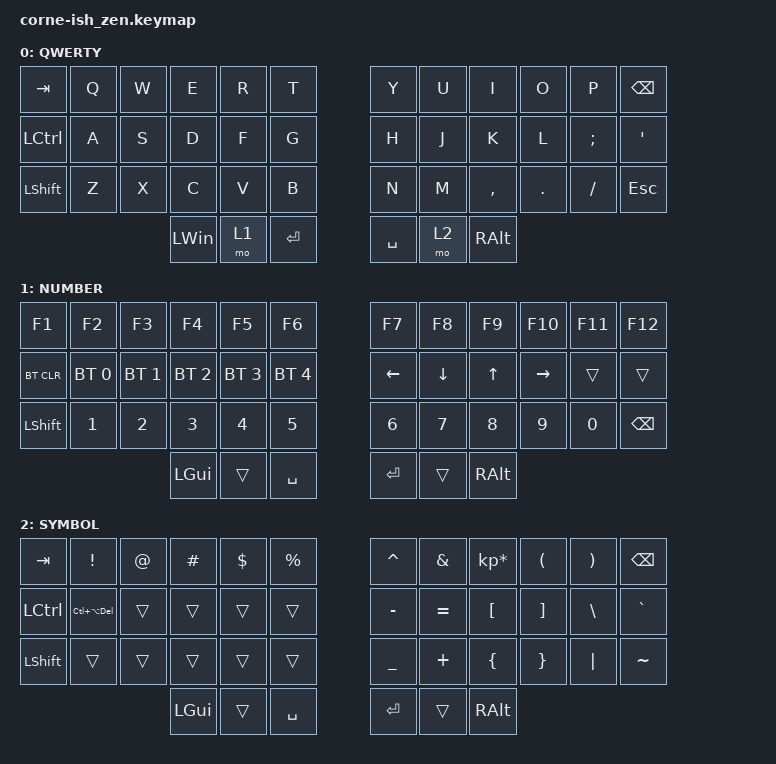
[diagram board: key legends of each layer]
/*
*
* Copyright (c) 2021 Darryl deHaan
* SPDX-License-Identifier: MIT
*
*/

#include <behaviors.dtsi>
#include <dt-bindings/zmk/keys.h>
#include <dt-bindings/zmk/bt.h>

/*
* {
*    combos {
*        compatible = "zmk,combos";
*        combo_ctrl_alt_del {
*            timeout-ms = <50>;
*            key-positions = <11 12 41>;
*            bindings = <&kp LC(LA(DEL))>;
*        };
*    };
*};
*/
/ {
        keymap {
                compatible = "zmk,keymap";

                default_layer {
                        label = "QWERTY";
// -----------------------------------------------------------------------------------------
// |  TAB |  Q  |  W  |  E  |  R  |  T  |   |  Y  |  U   |  I  |  O  |  P  | BKSP |
// | CTRL |  A  |  S  |  D  |  F  |  G  |   |  H  |  J   |  K  |  L  |  ;  |  '   |
// | SHFT |  Z  |  X  |  C  |  V  |  B  |   |  N  |  M   |  ,  |  .  |  /  | ESC  |
//                    | WIN | LWR | ENT |   | SPC | RSE  | ALT |
                        bindings = <
   &kp TAB   &kp Q &kp W &kp E &kp R &kp T   &kp Y &kp U  &kp I     &kp O   &kp P    &kp BSPC
   &kp LCTRL &kp A &kp S &kp D &kp F &kp G   &kp H &kp J  &kp K     &kp L   &kp SEMI &kp SQT
   &kp LSHFT &kp Z &kp X &kp C &kp V &kp B   &kp N &kp M  &kp COMMA &kp DOT &kp FSLH &kp ESC
                  &kp LWIN &mo 1 &kp RET   &kp SPACE &mo 2 &kp RALT
                        >;
                };
                lower_layer {
                        label = "NUMBER";
// -----------------------------------------------------------------------------------------
// |  F1  |  F2 |  F3 |  F4 |  F5 |  F6 |   |  F7 |  F8 |  F9 | F10 | F11 | F12  |
// | BTCLR| BT1 | BT2 | BT3 | BT4 | BT5 |   | LFT | DWN |  UP | RGT |     |      |
// | SHFT |   1 |   2 |  3  |  4  |   5 |   |   6 |  7  |  8  |  9  |  0  | BKSP |
//                    | GUI |     | SPC |   | ENT |     | ALT |
                        bindings = <
   &kp F1    &kp F2       &kp F3       &kp F4       &kp F5       &kp F6         &kp F7   &kp F8   &kp F9 &kp F10    &kp F11 &kp F12
   &bt BT_CLR &bt BT_SEL 0 &bt BT_SEL 1 &bt BT_SEL 2 &bt BT_SEL 3 &bt BT_SEL 4   &kp LEFT &kp DOWN &kp UP &kp RIGHT &trans &trans
   &kp LSHFT  &kp N1       &kp N2       &kp N3       &kp N4       &kp N5         &kp N6   &kp N7   &kp N8 &kp N9    &kp N0 &kp BSPC
                          	        &kp LGUI     &trans       &kp SPACE      &kp RET  &trans   &kp RALT
                        >;
                };

                raise_layer {
                        label = "SYMBOL";
// -----------------------------------------------------------------------------------------
// |  TAB |  !  |  @  |  #  |  $  |  %  |   |  ^  |  &  |  *  |  (  |  )  | BKSP |
// | CTRL | CAD |     |     |     |     |   |  -  |  =  |  [  |  ]  |  \  |  `   |
// | SHFT |     |     |     |     |     |   |  _  |  +  |  {  |  }  | "|" |  ~   |
//                    | GUI |     | SPC |   | ENT |     | ALT |
                        bindings = <
   &kp  TAB  &kp EXCL &kp AT &kp HASH &kp DLLR &kp PRCNT   &kp CARET &kp AMPS  &kp KP_MULTIPLY &kp LPAR &kp RPAR &kp BSPC
   &kp LCTRL &kp LC(LA(DEL))   &trans &trans   &trans   &trans      &kp MINUS &kp EQUAL &kp LBKT        &kp RBKT &kp BSLH &kp GRAVE
   &kp LSHFT &trans   &trans &trans   &trans   &trans      &kp UNDER &kp PLUS  &kp LBRC        &kp RBRC &kp PIPE &kp TILDE
                    	     &kp LGUI &trans   &kp SPACE   &kp RET   &trans    &kp RALT
                        >;
                };
        };
};
